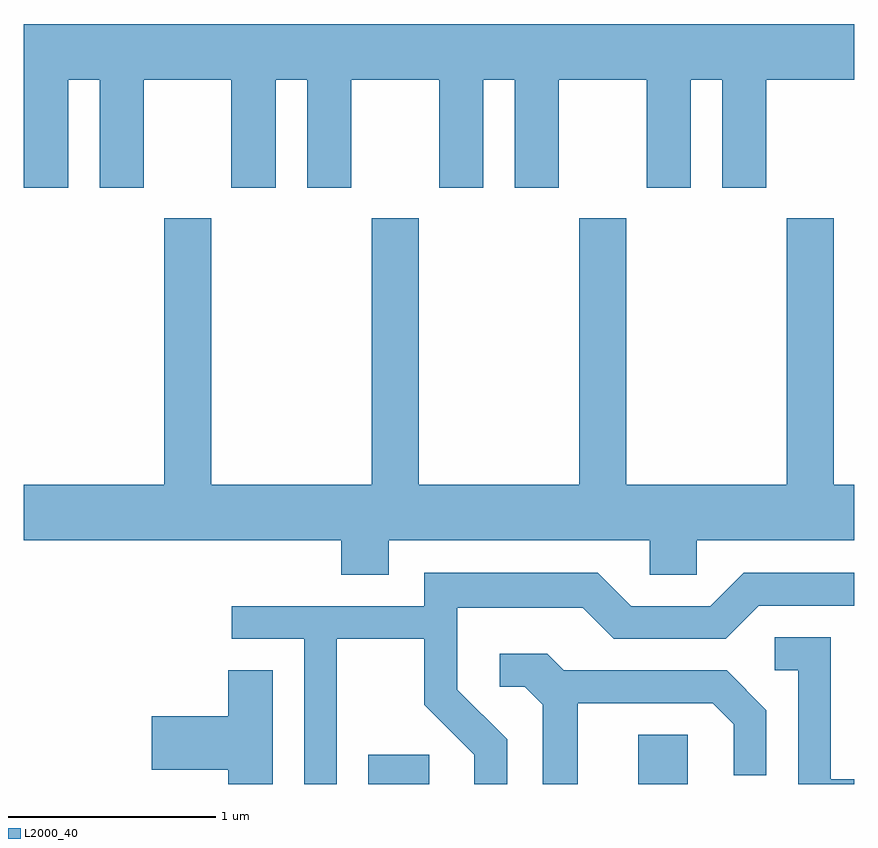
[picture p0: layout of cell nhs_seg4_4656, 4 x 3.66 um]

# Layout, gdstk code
import gdstk
lib = gdstk.Library(unit=1e-6, precision=1e-09)
def R(c, l, rs):  # rectangles x0, y0, x1, y1
    for r in rs: c.add(gdstk.rectangle(r[:2], r[2:], *l))
def P(c, l, *ps):  # polygons
    for p in ps: c.add(gdstk.Polygon(p, *l))
L2000_40 = (2000, 40)

nhs_seg4_4656 = lib.new_cell('nhs_seg4_4656')
R(nhs_seg4_4656, L2000_40, [(323.271,1317.982,323.564,1318.124), (324.571,1317.982,324.809,1318.219)])
P(nhs_seg4_4656, L2000_40, [(321.824,1321.376),(321.976,1321.376),(321.976,1320.856),(322.189,1320.856),(322.189,1321.376),(322.611,1321.376),(322.611,1320.856),(322.824,1320.856),(322.824,1321.376),(322.976,1321.376),(322.976,1320.856),(323.189,1320.856),(323.189,1321.376),(323.611,1321.376),(323.611,1320.856),(323.824,1320.856),(323.824,1321.376),(323.976,1321.376),(323.976,1320.856),(324.189,1320.856),(324.189,1321.376),(324.611,1321.376),(324.611,1320.856),(324.824,1320.856),(324.824,1321.376),(324.976,1321.376),(324.976,1320.856),(325.189,1320.856),(325.189,1321.376),(325.611,1321.376),(325.611,1321.644),(321.611,1321.644),(321.611,1320.856),(321.824,1320.856)],
  [(323.369,1319.156),(324.626,1319.156),(324.626,1318.991),(324.854,1318.991),(324.854,1319.156),(325.611,1319.156),(325.611,1319.424),(325.514,1319.424),(325.514,1320.709),(325.286,1320.709),(325.286,1319.424),(324.514,1319.424),(324.514,1320.709),(324.286,1320.709),(324.286,1319.424),(323.514,1319.424),(323.514,1320.709),(323.286,1320.709),(323.286,1319.424),(322.514,1319.424),(322.514,1320.709),(322.286,1320.709),(322.286,1319.424),(321.611,1319.424),(321.611,1319.156),(323.141,1319.156),(323.141,1318.991),(323.369,1318.991)],
  [(323.119,1318.681),(323.541,1318.681),(323.541,1318.364),(323.781,1318.124),(323.781,1317.982),(323.939,1317.982),(323.939,1318.197),(323.699,1318.437),(323.699,1318.831),(324.304,1318.831),(324.454,1318.681),(324.992,1318.681),(325.152,1318.841),(325.611,1318.841),(325.611,1318.999),(325.079,1318.999),(324.919,1318.839),(324.537,1318.839),(324.377,1318.999),(323.541,1318.999),(323.541,1318.839),(322.613,1318.839),(322.613,1318.681),(322.961,1318.681),(322.961,1317.982),(323.119,1317.982)],
  [(325.611,1318.004),(325.499,1318.004),(325.499,1318.689),(325.228,1318.689),(325.228,1318.531),(325.341,1318.531),(325.341,1317.982),(325.611,1317.982)],
  [(324.279,1318.371),(324.929,1318.371),(325.031,1318.269),(325.031,1318.023),(325.189,1318.023),(325.189,1318.337),(324.997,1318.529),(324.212,1318.529),(324.132,1318.609),(323.903,1318.609),(323.903,1318.451),(324.024,1318.451),(324.111,1318.364),(324.111,1317.982),(324.279,1317.982)],
  [(322.809,1318.529),(322.596,1318.529),(322.596,1318.309),(322.226,1318.309),(322.226,1318.051),(322.596,1318.051),(322.596,1317.982),(322.809,1317.982)])

lib.write_gds('nhs_seg4_4656.gds')
